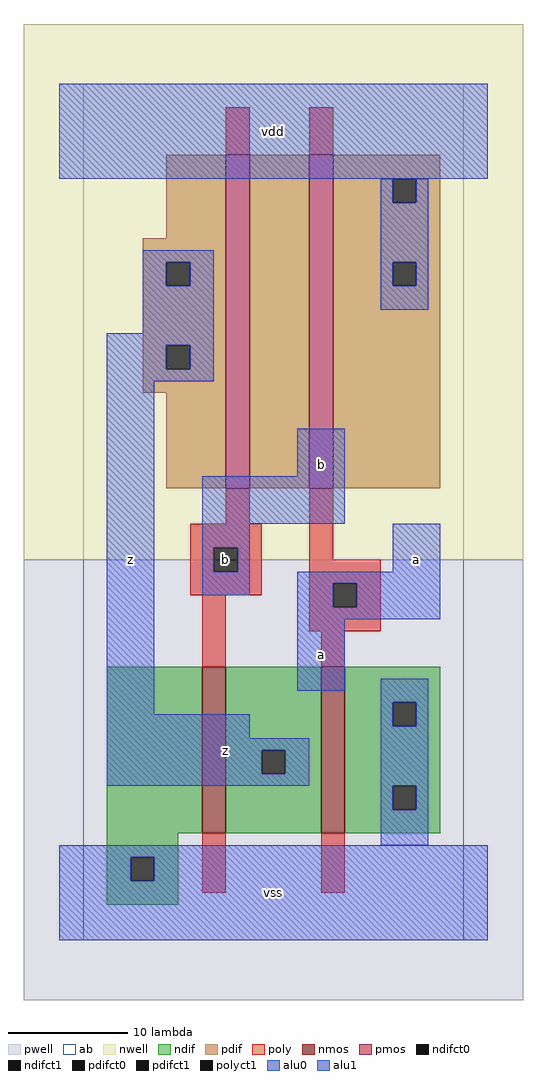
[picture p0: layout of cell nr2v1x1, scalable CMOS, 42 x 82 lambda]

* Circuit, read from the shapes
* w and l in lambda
.subckt nr2v1x1 a b vdd vss z
M1 z b vss VSUBS nfet w=14 l=2
M2 vss a z VSUBS nfet w=14 l=2
M3 n1 b z n2 pfet w=28 l=2
M4 vdd a n1 n2 pfet w=28 l=2
.ends

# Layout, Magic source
magic
tech scmos
<< ab >>
rect 0 0 32 72
<< nwell >>
rect -5 32 37 77
<< pwell >>
rect -5 -5 37 32
<< poly >>
rect 12 66 14 70
rect 19 66 21 70
rect 12 35 14 38
rect 9 33 15 35
rect 9 31 11 33
rect 13 31 15 33
rect 9 29 15 31
rect 19 32 21 38
rect 19 30 25 32
rect 10 23 12 29
rect 19 28 21 30
rect 23 28 25 30
rect 19 26 25 28
rect 20 23 22 26
rect 10 4 12 9
rect 20 4 22 9
<< ndif >>
rect 2 9 10 23
rect 12 16 20 23
rect 12 14 15 16
rect 17 14 20 16
rect 12 9 20 14
rect 22 20 30 23
rect 22 18 26 20
rect 28 18 30 20
rect 22 13 30 18
rect 22 11 26 13
rect 28 11 30 13
rect 22 9 30 11
rect 2 7 8 9
rect 2 5 4 7
rect 6 5 8 7
rect 2 3 8 5
<< pdif >>
rect 7 59 12 66
rect 5 57 12 59
rect 5 55 7 57
rect 9 55 12 57
rect 5 50 12 55
rect 5 48 7 50
rect 9 48 12 50
rect 5 46 12 48
rect 7 38 12 46
rect 14 38 19 66
rect 21 64 30 66
rect 21 62 26 64
rect 28 62 30 64
rect 21 57 30 62
rect 21 55 26 57
rect 28 55 30 57
rect 21 38 30 55
<< alu1 >>
rect -2 64 34 72
rect 5 57 11 58
rect 5 55 7 57
rect 9 55 11 57
rect 5 51 11 55
rect 2 50 11 51
rect 2 48 7 50
rect 9 48 11 50
rect 2 47 11 48
rect 2 19 6 47
rect 18 39 22 43
rect 10 35 22 39
rect 10 33 14 35
rect 10 31 11 33
rect 13 31 14 33
rect 26 31 30 35
rect 10 29 14 31
rect 18 30 30 31
rect 18 28 21 30
rect 23 28 30 30
rect 18 27 30 28
rect 18 21 22 27
rect 2 17 14 19
rect 2 16 19 17
rect 2 14 15 16
rect 17 14 19 16
rect 2 13 19 14
rect -2 7 34 8
rect -2 5 4 7
rect 6 5 34 7
rect -2 0 34 5
<< nmos >>
rect 10 9 12 23
rect 20 9 22 23
<< pmos >>
rect 12 38 14 66
rect 19 38 21 66
<< polyct1 >>
rect 11 31 13 33
rect 21 28 23 30
<< ndifct0 >>
rect 26 18 28 20
rect 26 11 28 13
<< ndifct1 >>
rect 15 14 17 16
rect 4 5 6 7
<< pdifct0 >>
rect 26 62 28 64
rect 26 55 28 57
<< pdifct1 >>
rect 7 55 9 57
rect 7 48 9 50
<< alu0 >>
rect 25 62 26 64
rect 28 62 29 64
rect 25 57 29 62
rect 25 55 26 57
rect 28 55 29 57
rect 25 53 29 55
rect 25 20 29 22
rect 25 18 26 20
rect 28 18 29 20
rect 25 13 29 18
rect 25 11 26 13
rect 28 11 29 13
rect 25 8 29 11
<< labels >>
rlabel alu1 4 32 4 32 6 z
rlabel alu1 12 16 12 16 6 z
rlabel polyct1 12 32 12 32 6 b
rlabel alu1 16 4 16 4 6 vss
rlabel alu1 20 24 20 24 6 a
rlabel alu1 20 40 20 40 6 b
rlabel alu1 16 68 16 68 6 vdd
rlabel alu1 28 32 28 32 6 a
<< end >>
